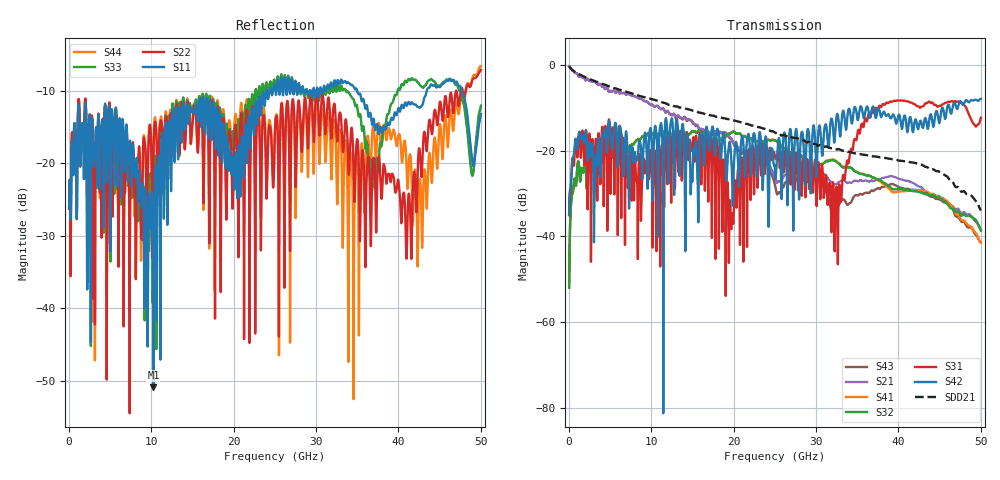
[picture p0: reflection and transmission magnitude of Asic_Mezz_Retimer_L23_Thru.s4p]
! Created Thu Jun 27 15:42:50 2019
# hz S ma R 50
! 4 Port Network Data from SP1.SP block
! freq  magS11  angS11  magS12  angS12  magS13  angS13  magS14  angS14
!  magS21  angS21  magS22  angS22  magS23  angS23  magS24  angS24
!  magS31  angS31  magS32  angS32  magS33  angS33  magS34  angS34
!  magS41  angS41  magS42  angS42  magS43  angS43  magS44  angS44
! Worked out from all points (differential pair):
!   4996 points, 50 MHz to 50 GHz, reference 50 ohm
!   strongest paths, dB at 50 MHz, 12.54 GHz, 25.03 GHz, 37.52 GHz, 50 GHz:
!     S42: -35.0, -12.6, -24.7, -10.2, -7.9
!     S31: -35.0, -18.3, -21.6, -10.3, -12.4
!     S32: -51.9, -16.5, -17.7, -26.8, -38.6
!     S41: -51.9, -16.4, -17.6, -27.0, -41.4
!     S21: -0.3, -11.6, -26.4, -26.7, -38.6
!     S43: -0.3, -11.8, -28.1, -28.8, -41.4
!   taken as a pair (ports 1,3 in; 2,4 out), SDD21 dB: -0.3, -9.5, -15.9, -21.5, -34.0
!   lowest |S11| = -50.9 dB at 10.28 GHz (marker M1), VSWR 1.01, Z = 50.2 + j0.147 ohm
!   |S11| at or under -10 dB: start of sweep to 23.94 GHz; 34.98 GHz to 43.44 GHz (8.459 GHz wide, 21.6 % of centre); 47.64 GHz to end of sweep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
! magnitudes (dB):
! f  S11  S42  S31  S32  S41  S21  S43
! 50 MHz  -26.1  -35.0  -35.0  -51.9  -51.9  -0.3  -0.3
! 1.11 GHz  -14.8  -18.8  -19.7  -22.7  -22.7  -2.4  -2.4
! 10.28 GHz  -50.9  -21.5  -27.8  -16.1  -16.1  -9.6  -9.6
! 32.45 GHz  -9.4  -12.7  -28.6  -22.5  -22.5  -27.9  -35.5
! 36.97 GHz  -13.9  -9.9  -11.1  -26.3  -26.3  -27.1  -29.4
! 40.97 GHz  -12.1  -14.2  -8.5  -29.2  -29.5  -27.0  -28.9
! 50 GHz  -13.2  -7.9  -12.4  -38.6  -41.4  -38.6  -41.4
